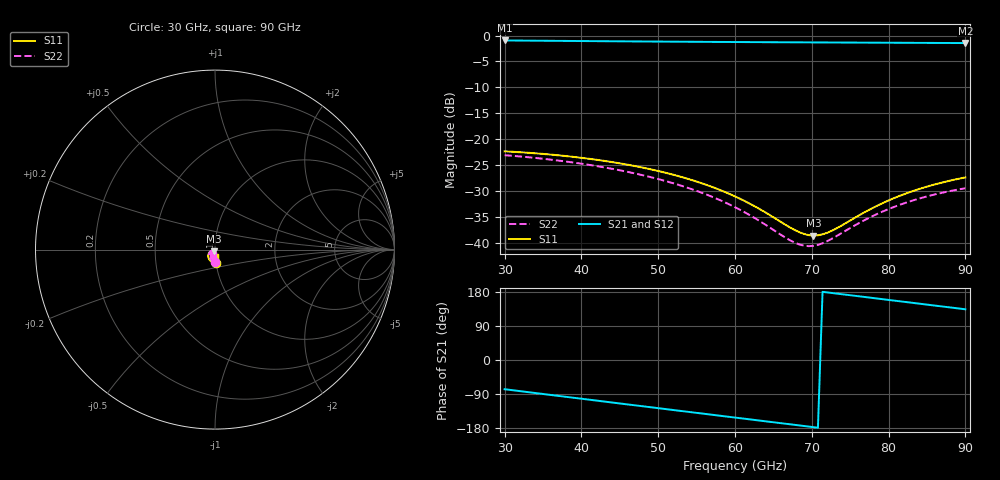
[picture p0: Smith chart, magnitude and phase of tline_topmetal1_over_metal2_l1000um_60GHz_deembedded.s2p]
! Created with skrf 2.0.1 (http://scikit-rf.org).
# GHz S DB R 50.0
!freq dBS11 angS11 dBS21 angS21 dBS12 angS12 dBS22 angS22
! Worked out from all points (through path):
!   101 points, 30 GHz to 90 GHz, reference 50 ohm
!   highest |S21| = -0.94 dB at 30 GHz (marker M1); lowest = -1.4 dB at 90 GHz (marker M2)
!   group delay of S21, straight-line fit = 6.9 ps
!   lowest |S11| = -38.6 dB at 70.2 GHz (marker M3), VSWR 1.02, Z = 49.4 - j1.02 ohm
!   |S11| at or under -10 dB: start of sweep to end of sweep
!   |S22| runs from -40.7 to -23.1 dB; largest |S21 - S12| = 9.9e-14
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30  -22.35 -86.9  -0.94 -77.1  -0.94 -77.1  -23.09 -88.0
34.8  -22.82 -100.8  -1.00 -89.2  -1.00 -89.2  -23.75 -102.6
37.2  -23.14 -107.5  -1.02 -95.2  -1.02 -95.2  -24.17 -109.7
40.2  -23.64 -115.7  -1.06 -102.7  -1.06 -102.7  -24.78 -118.4
45  -24.67 -128.2  -1.11 -114.7  -1.11 -114.7  -26.01 -131.7
50.4  -26.29 -141.0  -1.16 -128.1  -1.16 -128.1  -27.86 -145.5
53.4  -27.46 -147.1  -1.19 -135.5  -1.19 -135.5  -29.17 -152.3
55.8  -28.58 -151.4  -1.21 -141.5  -1.21 -141.5  -30.41 -156.9
60  -31.05 -156.3  -1.24 -151.9  -1.24 -151.9  -33.13 -162.2
61.8  -32.35 -156.7  -1.26 -156.4  -1.26 -156.4  -34.56 -162.6
64.2  -34.36 -154.3  -1.28 -162.3  -1.28 -162.3  -36.74 -159.6
66.6  -36.55 -146.2  -1.29 -168.3  -1.29 -168.3  -39.04 -150.0
67.8  -37.56 -139.0  -1.30 -171.2  -1.30 -171.2  -39.99 -141.6
69  -38.31 -129.5  -1.31 -174.2  -1.31 -174.2  -40.57 -131.0
70.2  -38.61 -118.4  -1.32 -177.2  -1.32 -177.2  -40.60 -119.6
71.4  -38.37 -107.2  -1.33 179.9  -1.33 179.9  -40.09 -109.1
72.6  -37.69 -97.6  -1.33 176.9  -1.33 176.9  -39.23 -100.9
76.8  -34.17 -80.9  -1.36 166.5  -1.36 166.5  -35.68 -88.8
80.4  -31.57 -79.2  -1.38 157.6  -1.38 157.6  -33.26 -89.4
82.8  -30.20 -80.9  -1.40 151.6  -1.40 151.6  -32.00 -92.3
85.2  -29.08 -83.8  -1.41 145.7  -1.41 145.7  -30.98 -96.1
90  -27.38 -91.4  -1.45 133.8  -1.45 133.8  -29.47 -105.4
